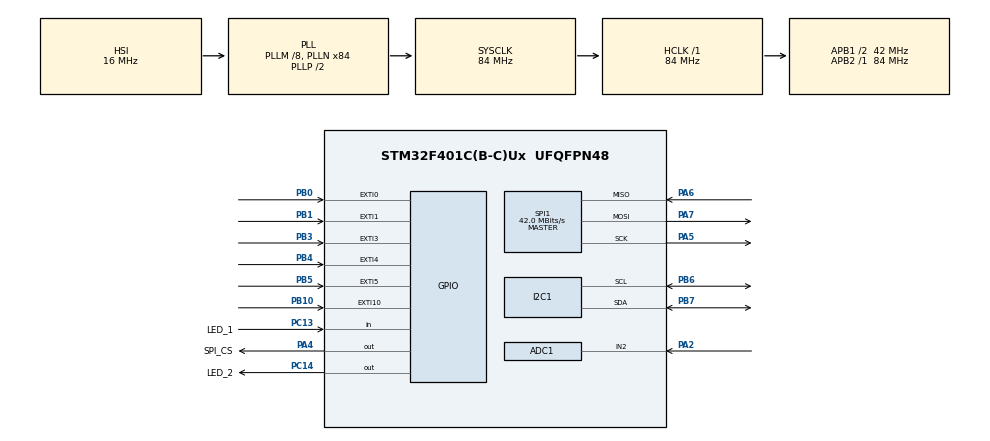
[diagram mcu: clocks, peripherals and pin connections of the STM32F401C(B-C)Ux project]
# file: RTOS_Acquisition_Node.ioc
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ADC1.Channel-2\#ChannelRegularConversion=ADC_CHANNEL_2
ADC1.ContinuousConvMode=ENABLE
ADC1.DMAContinuousRequests=ENABLE
ADC1.NbrOfConversionFlag=1
ADC1.Rank-2\#ChannelRegularConversion=1
ADC1.SamplingTime-2\#ChannelRegularConversion=ADC_SAMPLETIME_480CYCLES
ADC1.ScanConvMode=DISABLE
ADC1.master=1
Dma.ADC1.0.Direction=DMA_PERIPH_TO_MEMORY
Dma.ADC1.0.FIFOMode=DMA_FIFOMODE_DISABLE
Dma.ADC1.0.Instance=DMA2_Stream0
Dma.ADC1.0.MemDataAlignment=DMA_MDATAALIGN_HALFWORD
Dma.ADC1.0.MemInc=DMA_MINC_ENABLE
Dma.ADC1.0.Mode=DMA_CIRCULAR
Dma.ADC1.0.PeriphDataAlignment=DMA_PDATAALIGN_HALFWORD
Dma.ADC1.0.PeriphInc=DMA_PINC_DISABLE
Dma.ADC1.0.Priority=DMA_PRIORITY_LOW
Dma.Request0=ADC1
FREERTOS.Tasks01=defaultTask,0,128,StartDefaultTask,Default,NULL,Dynamic,NULL,NULL
FREERTOS.configTOTAL_HEAP_SIZE=16384
FREERTOS.configUSE_NEWLIB_REENTRANT=1
Mcu.Family=STM32F4
Mcu.Name=STM32F401C(B-C)Ux
Mcu.Package=UFQFPN48
NVIC.DMA2_Stream0_IRQn=true\:5\:0\:false\:false\:true\:true\:false\:true\:true
NVIC.EXTI0_IRQn=true\:5\:0\:false\:false\:true\:true\:true\:true\:true
NVIC.EXTI15_10_IRQn=true\:5\:0\:false\:false\:true\:true\:true\:true\:true
NVIC.EXTI1_IRQn=true\:5\:0\:false\:false\:true\:true\:true\:true\:true
NVIC.EXTI3_IRQn=true\:5\:0\:false\:false\:true\:true\:true\:true\:true
NVIC.EXTI4_IRQn=true\:5\:0\:false\:false\:true\:true\:true\:true\:true
NVIC.EXTI9_5_IRQn=true\:5\:0\:false\:false\:true\:true\:true\:true\:true
NVIC.PriorityGroup=NVIC_PRIORITYGROUP_4
NVIC.TIM5_IRQn=true\:15\:0\:false\:false\:true\:false\:false\:true\:true
NVIC.TimeBase=TIM5_IRQn
NVIC.TimeBaseIP=TIM5
PA2.Signal=ADCx_IN2
PA4.GPIO_Label=SPI_CS
PA4.Signal=GPIO_Output
PA5.Mode=Full_Duplex_Master
PA5.Signal=SPI1_SCK
PA6.Mode=Full_Duplex_Master
PA6.Signal=SPI1_MISO
PA7.Mode=Full_Duplex_Master
PA7.Signal=SPI1_MOSI
PB0.GPIO_ModeDefaultEXTI=GPIO_MODE_IT_FALLING
PB0.GPIO_PuPd=GPIO_PULLUP
PB0.Signal=GPXTI0
PB1.GPIO_ModeDefaultEXTI=GPIO_MODE_IT_FALLING
PB1.GPIO_PuPd=GPIO_PULLUP
PB1.Signal=GPXTI1
PB10.GPIO_ModeDefaultEXTI=GPIO_MODE_IT_FALLING
PB10.GPIO_PuPd=GPIO_PULLUP
PB10.Signal=GPXTI10
PB3.GPIO_ModeDefaultEXTI=GPIO_MODE_IT_FALLING
PB3.GPIO_PuPd=GPIO_PULLUP
PB3.Signal=GPXTI3
PB4.GPIO_ModeDefaultEXTI=GPIO_MODE_IT_FALLING
PB4.GPIO_PuPd=GPIO_PULLUP
PB4.Signal=GPXTI4
PB5.GPIO_ModeDefaultEXTI=GPIO_MODE_IT_FALLING
PB5.GPIO_PuPd=GPIO_PULLUP
PB5.Signal=GPXTI5
PB6.Mode=I2C
PB6.Signal=I2C1_SCL
PB7.Mode=I2C
PB7.Signal=I2C1_SDA
PC13-ANTI_TAMP.GPIO_Label=LED_1
PC13-ANTI_TAMP.Signal=GPIO_Input
PC14-OSC32_IN.GPIO_Label=LED_2
PC14-OSC32_IN.Signal=GPIO_Output
ProjectManager.HeapSize=0x200
ProjectManager.StackSize=0x400
ProjectManager.TargetToolchain=STM32CubeIDE
RCC.48MHZClocksFreq_Value=42000000
RCC.AHBFreq_Value=84000000
RCC.APB1CLKDivider=RCC_HCLK_DIV2
RCC.APB1Freq_Value=42000000
RCC.APB1TimFreq_Value=84000000
RCC.APB2Freq_Value=84000000
RCC.APB2TimFreq_Value=84000000
RCC.CortexFreq_Value=84000000
RCC.HCLKFreq_Value=84000000
RCC.HSE_VALUE=25000000
RCC.HSI_VALUE=16000000
RCC.LSE_VALUE=32768
RCC.PLLM=8
RCC.PLLN=84
RCC.SYSCLKFreq_VALUE=84000000
RCC.SYSCLKSource=RCC_SYSCLKSOURCE_PLLCLK
RCC.VCOOutputFreq_Value=168000000
SH.ADCx_IN2.0=ADC1_IN2,IN2
SPI1.CalculateBaudRate=42.0 MBits/s
SPI1.Direction=SPI_DIRECTION_2LINES
SPI1.Mode=SPI_MODE_MASTER
SPI1.VirtualType=VM_MASTER
VP_FREERTOS_VS_CMSIS_V1.Mode=CMSIS_V1
VP_SYS_VS_tim5.Mode=TIM5
board=custom

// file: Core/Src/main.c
/* USER CODE BEGIN Header */
/**
  ******************************************************************************
  * @file           : main.c
  * @brief          : Main program body
  ******************************************************************************
  * @attention
  *
  * Copyright (c) 2025 STMicroelectronics.
  * All rights reserved.
  *
  * This software is licensed under terms that can be found in the LICENSE file
  * in the root directory of this software component.
  * If no LICENSE file comes with this software, it is provided AS-IS.
  *
  ******************************************************************************
  */
/* USER CODE END Header */
#include "main.h"
#include "cmsis_os.h"

/* USER CODE BEGIN Includes */
#include "i2c-lcd.h"
#include "mpu6050.h"
#include <stdio.h>
#include <math.h>
#include <string.h>
#include "mcp2515.h"

/* FreeRTOS Includes */
#include "FreeRTOS.h"
#include "task.h"
#include "semphr.h"
/* USER CODE END Includes */

/* USER CODE BEGIN PTD */

// Shared data structure for inter-task communication
typedef struct
{
  MPU6050_Data imu;
  uint16_t     pot;
  uint8_t      buttons[6];
} SensorData_t;

/* USER CODE END PTD */

/* USER CODE BEGIN PD */
#define NUM_ADC_CHANNELS 1

// --- MPU6050 Health Check Defines ---
#define MPU6050_I2C_ADDR (0x68 << 1) // MPU6050 7-bit address, left-shifted for HAL
#define MPU6050_WHO_AM_I_REG 0x75    // WHO_AM_I register address
#define MPU6050_WHO_AM_I_VAL 0x68    // Expected value from WHO_AM_I register

/* USER CODE END PD */

ADC_HandleTypeDef hadc1;
DMA_HandleTypeDef hdma_adc1;

I2C_HandleTypeDef hi2c1;

SPI_HandleTypeDef hspi1;

osThreadId defaultTaskHandle;
/* USER CODE BEGIN PV */
// --- Volatile data updated by DMA and ISRs ---
volatile uint16_t pot_value;
volatile uint8_t can_buttons[6] = {0, 0, 0, 0, 0, 0};

// --- FreeRTOS Handles ---
TaskHandle_t xReadImuHandle;
TaskHandle_t xReadLocalSensorsHandle;
TaskHandle_t xUpdateLcdHandle;
TaskHandle_t xSendCanHandle;

// Mutexes for shared resources
SemaphoreHandle_t xI2cMutex;
SemaphoreHandle_t xSpiMutex;
SemaphoreHandle_t xDataMutex; // Protects g_sensorData

// --- Global Shared Data ---
SensorData_t g_sensorData; // Protected by xDataMutex

// Variables for button de-bouncing
#define DEBOUNCE_TIME_MS 200 // 200ms de-bounce delay
static volatile uint32_t last_press_time[6] = {0};

/* USER CODE END PV */

void SystemClock_Config(void);
static void MX_GPIO_Init(void);
static void MX_DMA_Init(void);
static void MX_ADC1_Init(void);
static void MX_I2C1_Init(void);
static void MX_SPI1_Init(void);
void StartDefaultTask(void const * argument);

/* USER CODE BEGIN PFP */

// --- FreeRTOS Task Prototypes ---
void vReadImuTask(void *pvParameters);
void vReadLocalSensorsTask(void *pvParameters);
void vUpdateLcdTask(void *pvParameters);
void vSendCanTask(void *pvParameters);

// --- Hardware Init Functions ---

void IMU_Init(void){
	MPU6050_Init(&hi2c1);

	uint8_t who_am_i_val = 0;
	HAL_StatusTypeDef ret = HAL_I2C_Mem_Read(&hi2c1, MPU6050_I2C_ADDR,
											 MPU6050_WHO_AM_I_REG, 1,
											 &who_am_i_val, 1, HAL_MAX_DELAY);
	lcd_clear();
	if (ret != HAL_OK)
	{
		// I2C communication failed (device did not ACK)
		lcd_send_string("I2C Comm Failed");
		while(1);
	}

	// 2. Check if the device is the correct one
	if (who_am_i_val != MPU6050_WHO_AM_I_VAL)
	{
		// Got a response, but it's not the MPU6050
		lcd_send_string("MPU6050 not found");
		while(1);
	}

	lcd_send_string("MPU6050 OK");
	HAL_Delay(1000);
}

void MCP_Init(void){

	  // --- Initialize MCP2515 ---
	  lcd_clear();
	  //8MHz crystal on MCP2515 board and 500kbps bus speed
	   if (MCP2515_Init(&hspi1, SPI_CS_GPIO_Port, SPI_CS_Pin, 8, 500) == MCP2515_OK)
	   {
	       lcd_put_cur(0, 0);
	       lcd_send_string("MCP2515 OK      ");
	   }
	   else
	   {
	       lcd_put_cur(0, 0);
	       lcd_send_string("MCP2515 FAIL    ");
	       while (1); // Halt on error
	   }
	   HAL_Delay(1000);
}

/* USER CODE END PFP */

int main(void)
{

  /* MCU Configuration--------------------------------------------------------*/

  /* Reset of all peripherals, Initializes the Flash interface and the Systick. */
  HAL_Init();

  /* Configure the system clock */
  SystemClock_Config();

  /* Initialize all configured peripherals */
  MX_GPIO_Init();
  MX_DMA_Init();
  MX_ADC1_Init();
  MX_I2C1_Init();
  MX_SPI1_Init();
  /* USER CODE BEGIN 2 */

  // --- Hardware Initialization (pre-scheduler) ---
  lcd_init(&hi2c1);
  lcd_put_cur(0, 0); // Set cursor to first row, first column
  lcd_send_string("Initializing...");

  IMU_Init(); // Blocking init, OK before scheduler

  MCP_Init(); // Blocking init, OK before scheduler

  // Start ADC with DMA
  HAL_ADC_Start_DMA(&hadc1, (uint32_t *)&pot_value, NUM_ADC_CHANNELS);

  // --- FreeRTOS Object Creation ---

  // Create Mutexes for shared peripherals
  xI2cMutex = xSemaphoreCreateMutex();
  xSpiMutex = xSemaphoreCreateMutex();
  xDataMutex = xSemaphoreCreateMutex(); // Mutex for the g_sensorData struct

  // Check if all objects were created
  if (xI2cMutex == NULL || xSpiMutex == NULL || xDataMutex == NULL)
  {
      lcd_clear();
      lcd_send_string("Mutex Create Fail");
      while(1);
  }

  // Create Tasks
  xTaskCreate(vReadImuTask,
              "ReadIMU",
              configMINIMAL_STACK_SIZE * 2,
              NULL,
              tskIDLE_PRIORITY + 3, // High priority
              &xReadImuHandle);

  xTaskCreate(vReadLocalSensorsTask,
              "ReadLocal",
              configMINIMAL_STACK_SIZE, // Small stack, simple task
              NULL,
              tskIDLE_PRIORITY + 3, // High priority
              &xReadLocalSensorsHandle);

  xTaskCreate(vSendCanTask,
              "SendCAN",
              configMINIMAL_STACK_SIZE * 2,
              NULL,
              tskIDLE_PRIORITY + 2, // Medium priority
              &xSendCanHandle);

  xTaskCreate(vUpdateLcdTask,
              "UpdateLCD",
              configMINIMAL_STACK_SIZE * 4, // Large stack for sprintf
              NULL,
              tskIDLE_PRIORITY + 1, // Low priority
              &xUpdateLcdHandle);

  // Start the scheduler
  vTaskStartScheduler();

  /* USER CODE END 2 */

  /* Create the thread(s) */
  /* definition and creation of defaultTask */
  //osThreadDef(defaultTask, StartDefaultTask, osPriorityNormal, 0, 128);
  //defaultTaskHandle = osThreadCreate(osThread(defaultTask), NULL);

  /* Start scheduler */
  //osKernelStart();

  /* We should never get here as control is now taken by the scheduler */

  /* Infinite loop */
  /* USER CODE BEGIN WHILE */
  // The scheduler is running, so this loop should never be reached
  while (1)
  {
    /* USER CODE END WHILE */

  }
}

void SystemClock_Config(void)
{
  RCC_OscInitTypeDef RCC_OscInitStruct = {0};
  RCC_ClkInitTypeDef RCC_ClkInitStruct = {0};

  /** Configure the main internal regulator output voltage
  */
  __HAL_RCC_PWR_CLK_ENABLE();
  __HAL_PWR_VOLTAGESCALING_CONFIG(PWR_REGULATOR_VOLTAGE_SCALE2);

  /** Initializes the RCC Oscillators according to the specified parameters
  * in the RCC_OscInitTypeDef structure.
  */
  RCC_OscInitStruct.OscillatorType = RCC_OSCILLATORTYPE_HSI;
  RCC_OscInitStruct.HSIState = RCC_HSI_ON;
  RCC_OscInitStruct.HSICalibrationValue = RCC_HSICALIBRATION_DEFAULT;
  RCC_OscInitStruct.PLL.PLLState = RCC_PLL_ON;
  RCC_OscInitStruct.PLL.PLLSource = RCC_PLLSOURCE_HSI;
  RCC_OscInitStruct.PLL.PLLM = 8;
  RCC_OscInitStruct.PLL.PLLN = 84;
  RCC_OscInitStruct.PLL.PLLP = RCC_PLLP_DIV2;
  RCC_OscInitStruct.PLL.PLLQ = 4;
  if (HAL_RCC_OscConfig(&RCC_OscInitStruct) != HAL_OK)
  {
    Error_Handler();
  }

  /** Initializes the CPU, AHB and APB buses clocks
  */
  RCC_ClkInitStruct.ClockType = RCC_CLOCKTYPE_HCLK|RCC_CLOCKTYPE_SYSCLK
                              |RCC_CLOCKTYPE_PCLK1|RCC_CLOCKTYPE_PCLK2;
  RCC_ClkInitStruct.SYSCLKSource = RCC_SYSCLKSOURCE_PLLCLK;
  RCC_ClkInitStruct.AHBCLKDivider = RCC_SYSCLK_DIV1;
  RCC_ClkInitStruct.APB1CLKDivider = RCC_HCLK_DIV2;
  RCC_ClkInitStruct.APB2CLKDivider = RCC_HCLK_DIV1;

  if (HAL_RCC_ClockConfig(&RCC_ClkInitStruct, FLASH_LATENCY_2) != HAL_OK)
  {
    Error_Handler();
  }
}

static void MX_ADC1_Init(void)
{

  ADC_ChannelConfTypeDef sConfig = {0};

  /** Configure the global features of the ADC (Clock, Resolution, Data Alignment and number of conversion)
  */
  hadc1.Instance = ADC1;
  hadc1.Init.ClockPrescaler = ADC_CLOCK_SYNC_PCLK_DIV4;
  hadc1.Init.Resolution = ADC_RESOLUTION_12B;
  hadc1.Init.ScanConvMode = DISABLE;
  hadc1.Init.ContinuousConvMode = ENABLE;
  hadc1.Init.DiscontinuousConvMode = DISABLE;
  hadc1.Init.ExternalTrigConvEdge = ADC_EXTERNALTRIGCONVEDGE_NONE;
  hadc1.Init.ExternalTrigConv = ADC_SOFTWARE_START;
  hadc1.Init.DataAlign = ADC_DATAALIGN_RIGHT;
  hadc1.Init.NbrOfConversion = 1;
  hadc1.Init.DMAContinuousRequests = ENABLE;
  hadc1.Init.EOCSelection = ADC_EOC_SINGLE_CONV;
  if (HAL_ADC_Init(&hadc1) != HAL_OK)
  {
    Error_Handler();
  }

  /** Configure for the selected ADC regular channel its corresponding rank in the sequencer and its sample time.
  */
  sConfig.Channel = ADC_CHANNEL_2;
  sConfig.Rank = 1;
  sConfig.SamplingTime = ADC_SAMPLETIME_480CYCLES;
  if (HAL_ADC_ConfigChannel(&hadc1, &sConfig) != HAL_OK)
  {
    Error_Handler();
  }

}

static void MX_I2C1_Init(void)
{

  hi2c1.Instance = I2C1;
  hi2c1.Init.ClockSpeed = 100000;
  hi2c1.Init.DutyCycle = I2C_DUTYCYCLE_2;
  hi2c1.Init.OwnAddress1 = 0;
  hi2c1.Init.AddressingMode = I2C_ADDRESSINGMODE_7BIT;
  hi2c1.Init.DualAddressMode = I2C_DUALADDRESS_DISABLE;
  hi2c1.Init.OwnAddress2 = 0;
  hi2c1.Init.GeneralCallMode = I2C_GENERALCALL_DISABLE;
  hi2c1.Init.NoStretchMode = I2C_NOSTRETCH_DISABLE;
  if (HAL_I2C_Init(&hi2c1) != HAL_OK)
  {
    Error_Handler();
  }

}

static void MX_SPI1_Init(void)
{

  /* SPI1 parameter configuration*/
  hspi1.Instance = SPI1;
  hspi1.Init.Mode = SPI_MODE_MASTER;
  hspi1.Init.Direction = SPI_DIRECTION_2LINES;
  hspi1.Init.DataSize = SPI_DATASIZE_8BIT;
  hspi1.Init.CLKPolarity = SPI_POLARITY_LOW;
  hspi1.Init.CLKPhase = SPI_PHASE_1EDGE;
  hspi1.Init.NSS = SPI_NSS_SOFT;
  hspi1.Init.BaudRatePrescaler = SPI_BAUDRATEPRESCALER_2;
  hspi1.Init.FirstBit = SPI_FIRSTBIT_MSB;
  hspi1.Init.TIMode = SPI_TIMODE_DISABLE;
  hspi1.Init.CRCCalculation = SPI_CRCCALCULATION_DISABLE;
  hspi1.Init.CRCPolynomial = 10;
  if (HAL_SPI_Init(&hspi1) != HAL_OK)
  {
    Error_Handler();
  }

}

static void MX_DMA_Init(void)
{

  /* DMA controller clock enable */
  __HAL_RCC_DMA2_CLK_ENABLE();

  /* DMA interrupt init */
  /* DMA2_Stream0_IRQn interrupt configuration */
  HAL_NVIC_SetPriority(DMA2_Stream0_IRQn, 5, 0);
  HAL_NVIC_EnableIRQ(DMA2_Stream0_IRQn);

}

static void MX_GPIO_Init(void)
{
  GPIO_InitTypeDef GPIO_InitStruct = {0};

  /* GPIO Ports Clock Enable */
  __HAL_RCC_GPIOC_CLK_ENABLE();
  __HAL_RCC_GPIOA_CLK_ENABLE();
  __HAL_RCC_GPIOB_CLK_ENABLE();

  /*Configure GPIO pin Output Level */
  HAL_GPIO_WritePin(LED_2_GPIO_Port, LED_2_Pin, GPIO_PIN_RESET);

  /*Configure GPIO pin Output Level */
  HAL_GPIO_WritePin(SPI_CS_GPIO_Port, SPI_CS_Pin, GPIO_PIN_RESET);

  /*Configure GPIO pin : LED_1_Pin */
  GPIO_InitStruct.Pin = LED_1_Pin;
  GPIO_InitStruct.Mode = GPIO_MODE_INPUT;
  GPIO_InitStruct.Pull = GPIO_NOPULL;
  HAL_GPIO_Init(LED_1_GPIO_Port, &GPIO_InitStruct);

  /*Configure GPIO pin : LED_2_Pin */
  GPIO_InitStruct.Pin = LED_2_Pin;
  GPIO_InitStruct.Mode = GPIO_MODE_OUTPUT_PP;
  GPIO_InitStruct.Pull = GPIO_NOPULL;
  GPIO_InitStruct.Speed = GPIO_SPEED_FREQ_LOW;
  HAL_GPIO_Init(LED_2_GPIO_Port, &GPIO_InitStruct);

  /*Configure GPIO pin : SPI_CS_Pin */
  GPIO_InitStruct.Pin = SPI_CS_Pin;
  GPIO_InitStruct.Mode = GPIO_MODE_OUTPUT_PP;
  GPIO_InitStruct.Pull = GPIO_NOPULL;
  GPIO_InitStruct.Speed = GPIO_SPEED_FREQ_LOW;
  HAL_GPIO_Init(SPI_CS_GPIO_Port, &GPIO_InitStruct);

  /*Configure GPIO pins : PB0 PB1 PB10 PB3
                           PB4 PB5 */
  GPIO_InitStruct.Pin = GPIO_PIN_0|GPIO_PIN_1|GPIO_PIN_10|GPIO_PIN_3
                          |GPIO_PIN_4|GPIO_PIN_5;
  GPIO_InitStruct.Mode = GPIO_MODE_IT_FALLING;
  GPIO_InitStruct.Pull = GPIO_PULLUP;
  HAL_GPIO_Init(GPIOB, &GPIO_InitStruct);

  /* EXTI interrupt init*/
  HAL_NVIC_SetPriority(EXTI0_IRQn, 5, 0);
  HAL_NVIC_EnableIRQ(EXTI0_IRQn);

  HAL_NVIC_SetPriority(EXTI1_IRQn, 5, 0);
  HAL_NVIC_EnableIRQ(EXTI1_IRQn);

  HAL_NVIC_SetPriority(EXTI3_IRQn, 5, 0);
  HAL_NVIC_EnableIRQ(EXTI3_IRQn);

  HAL_NVIC_SetPriority(EXTI4_IRQn, 5, 0);
  HAL_NVIC_EnableIRQ(EXTI4_IRQn);

  HAL_NVIC_SetPriority(EXTI9_5_IRQn, 5, 0);
  HAL_NVIC_EnableIRQ(EXTI9_5_IRQn);

  HAL_NVIC_SetPriority(EXTI15_10_IRQn, 5, 0);
  HAL_NVIC_EnableIRQ(EXTI15_10_IRQn);

}

/* USER CODE BEGIN 4 */

/**
  * @brief Task 1: Reads IMU data periodically.
  * This task shares the I2C bus with vUpdateLcdTask.
  */
void vReadImuTask(void *pvParameters)
{
    MPU6050_Data imu_data_local; // Local buffer

    for (;;)
    {
        // 1. Take the I2C Mutex to access the bus
        if (xSemaphoreTake(xI2cMutex, pdMS_TO_TICKS(100)) == pdTRUE)
        {
            // 2. Access the shared peripheral
            MPU6050_Read_All(&hi2c1, &imu_data_local);

            // 3. Give the I2C Mutex
            xSemaphoreGive(xI2cMutex);

            // 4. Take the Data Mutex to update the shared structure
            if (xSemaphoreTake(xDataMutex, pdMS_TO_TICKS(100)) == pdTRUE)
            {
                g_sensorData.imu = imu_data_local;
                xSemaphoreGive(xDataMutex);
            }
        }

        // Run this task every 100ms
        vTaskDelay(pdMS_TO_TICKS(100));
    }
}

/**
  * @brief Task 2: Reads local ADC (from DMA) and Button (from ISR) data.
  * This task copies volatile data into the protected shared structure.
  */
void vReadLocalSensorsTask(void *pvParameters)
{
    for (;;)
    {
        // 1. Take the Data Mutex to update the shared structure
        if (xSemaphoreTake(xDataMutex, pdMS_TO_TICKS(50)) == pdTRUE)
        {
            // 2. Copy volatile data atomically
            g_sensorData.pot = pot_value; // Read from DMA buffer
            for(int i=0; i < 6; i++)
            {
               g_sensorData.buttons[i] = can_buttons[i]; // Read from ISR buffer
            }

            // 3. Give the Data Mutex
            xSemaphoreGive(xDataMutex);
        }

        // Run this task at a faster rate (50ms)
        vTaskDelay(pdMS_TO_TICKS(50));
    }
}

/**
  * @brief Task 3: Updates the LCD display.
  * This task shares the I2C bus with vReadImuTask.
  */
void vUpdateLcdTask(void *pvParameters)
{
    char lcd_buf_row0[20];
    char lcd_buf_row1[20];
    SensorData_t localData; // Local copy to minimize mutex hold time
    uint8_t mapped_pot;
    uint8_t button_byte;

    for (;;)
    {
        // 1. Get a consistent snapshot of data
        if (xSemaphoreTake(xDataMutex, pdMS_TO_TICKS(100)) == pdTRUE)
        {
            localData = g_sensorData; // Copy data
            xSemaphoreGive(xDataMutex);
        }

        // 2. Process data locally (no mutexes held)
        mapped_pot = ((int32_t)localData.pot * 255) / 4095;
        button_byte = 0;
        for (int i = 0; i < 6; i++)
        {
            if (localData.buttons[i])
            {
                button_byte |= (1 << i);
            }
        }

        sprintf(lcd_buf_row0, "P:%-3d B:%02X      ", mapped_pot, button_byte);
        sprintf(lcd_buf_row1, "X:%.1f Y:%.1f Z:%0.1f", localData.imu.Ax, localData.imu.Ay, localData.imu.Az);

        // 3. Take the I2C Mutex to update the display
        if (xSemaphoreTake(xI2cMutex, pdMS_TO_TICKS(100)) == pdTRUE)
        {
            lcd_put_cur(0, 0);
            lcd_send_string(lcd_buf_row0);
            lcd_put_cur(1, 0);
            lcd_send_string(lcd_buf_row1);

            // 4. Give the I2C Mutex
            xSemaphoreGive(xI2cMutex);
        }

        // LCD updates are slow, 250ms is fine
        vTaskDelay(pdMS_TO_TICKS(250));
    }
}

/**
  * @brief Task 4: Sends sensor data over the CAN bus.
  * This task uses the SPI bus, protected by a mutex.
  */
void vSendCanTask(void *pvParameters)
{
    CAN_TxHeaderTypeDef can_tx_header;
    uint8_t can_tx_data[8];
    SensorData_t localData; // Local copy
    uint8_t mapped_pot;
    uint8_t button_byte;

    for (;;)
    {
        // 1. Get a consistent data snapshot
        if (xSemaphoreTake(xDataMutex, pdMS_TO_TICKS(100)) == pdTRUE)
        {
            localData = g_sensorData; // Copy data
            xSemaphoreGive(xDataMutex);
        }

        // 2. Process and Send POT/Button Packet
        mapped_pot = ((int32_t)localData.pot * 255) / 4095;
        button_byte = 0;
        for (int i = 0; i < 6; i++)
        {
            if (localData.buttons[i])
            {
                button_byte |= (1 << i);
            }
        }

        // 3. Take SPI Mutex for first message
        if (xSemaphoreTake(xSpiMutex, pdMS_TO_TICKS(50)) == pdTRUE)
        {
            can_tx_header.StdId = 0x100;
            can_tx_header.IDE = CAN_ID_STD;
            can_tx_header.RTR = CAN_RTR_DATA;
            can_tx_header.DLC = 2;
            can_tx_data[0] = mapped_pot;
            can_tx_data[1] = button_byte;
            MCP2515_SendMessage(&can_tx_header, can_tx_data);

            // 4. Give SPI Mutex
            xSemaphoreGive(xSpiMutex);
        }

        // 5. Short delay between packets (as in original code)
        vTaskDelay(pdMS_TO_TICKS(10));

        // 6. Process and Send IMU Packet
        int16_t ax = (int16_t)(localData.imu.Ax * 100.0f);
        int16_t ay = (int16_t)(localData.imu.Ay * 100.0f);
        int16_t az = (int16_t)(localData.imu.Az * 100.0f);

        // 7. Take SPI Mutex for second message
        if (xSemaphoreTake(xSpiMutex, pdMS_TO_TICKS(50)) == pdTRUE)
        {
            can_tx_header.StdId = 0x101;
            can_tx_header.DLC = 6;
            can_tx_data[0] = (ax >> 8) & 0xFF;
            can_tx_data[1] = ax & 0xFF;
            can_tx_data[2] = (ay >> 8) & 0xFF;
            can_tx_data[3] = ay & 0xFF;
            can_tx_data[4] = (az >> 8) & 0xFF;
            can_tx_data[5] = az & 0xFF;
            MCP2515_SendMessage(&can_tx_header, can_tx_data);

            // 8. Give SPI Mutex
            xSemaphoreGive(xSpiMutex);
        }

        // 9. Delay for the remainder of the 100ms cycle
        vTaskDelay(pdMS_TO_TICKS(90));
    }
}

/**
  * @brief  EXTI line detection callback.
  * @param  GPIO_Pin: Specifies the pins connected to the EXTI line.
  * @retval None
  */
void HAL_GPIO_EXTI_Callback(uint16_t GPIO_Pin)
{
  /*
   * This ISR updates the volatile can_buttons array.
   */
  uint32_t current_time = HAL_GetTick(); // Get current time in milliseconds

  switch (GPIO_Pin)
  {
    case GPIO_PIN_0:
      // Check if debounce time has passed for PB0
      if (current_time - last_press_time[0] > DEBOUNCE_TIME_MS)
      {
        can_buttons[0] ^= 1; // Toggle the value (0->1 or 1->0)
        last_press_time[0] = current_time; // Update the last press time
      }
      break;

    case GPIO_PIN_1:
      // Check if debounce time has passed for PB1
      if (current_time - last_press_time[1] > DEBOUNCE_TIME_MS)
      {
        can_buttons[1] ^= 1;
        last_press_time[1] = current_time;
      }
      break;

    case GPIO_PIN_10:
      // Check if debounce time has passed for PB10
      if (current_time - last_press_time[2] > DEBOUNCE_TIME_MS)
      {
        can_buttons[2] ^= 1;
        last_press_time[2] = current_time;
      }
      break;

    case GPIO_PIN_3:
      // Check if debounce time has passed for PB3
      if (current_time - last_press_time[3] > DEBOUNCE_TIME_MS)
      {
        can_buttons[3] ^= 1;
        last_press_time[3] = current_time;
      }
      break;

    case GPIO_PIN_4:
      // Check if debounce time has passed for PB4
      if (current_time - last_press_time[4] > DEBOUNCE_TIME_MS)
      {
        can_buttons[4] ^= 1;
        last_press_time[4] = current_time;
      }
      break;

    case GPIO_PIN_5:
      // Check if debounce time has passed for PB5
      if (current_time - last_press_time[5] > DEBOUNCE_TIME_MS)
      {
        can_buttons[5] ^= 1;
        last_press_time[5] = current_time;
      }
      break;

    default:
      // Unhandled interrupt
      __NOP(); // No Operation
      break;
  }
}

/* USER CODE END 4 */

void StartDefaultTask(void const * argument)
{
  for(;;)
  {
    osDelay(1);
  }
}

void HAL_TIM_PeriodElapsedCallback(TIM_HandleTypeDef *htim)
{
  if (htim->Instance == TIM5)
  {
    HAL_IncTick();
  }
}

void Error_Handler(void)
{
  __disable_irq();
  while (1)
  {
  }
}
